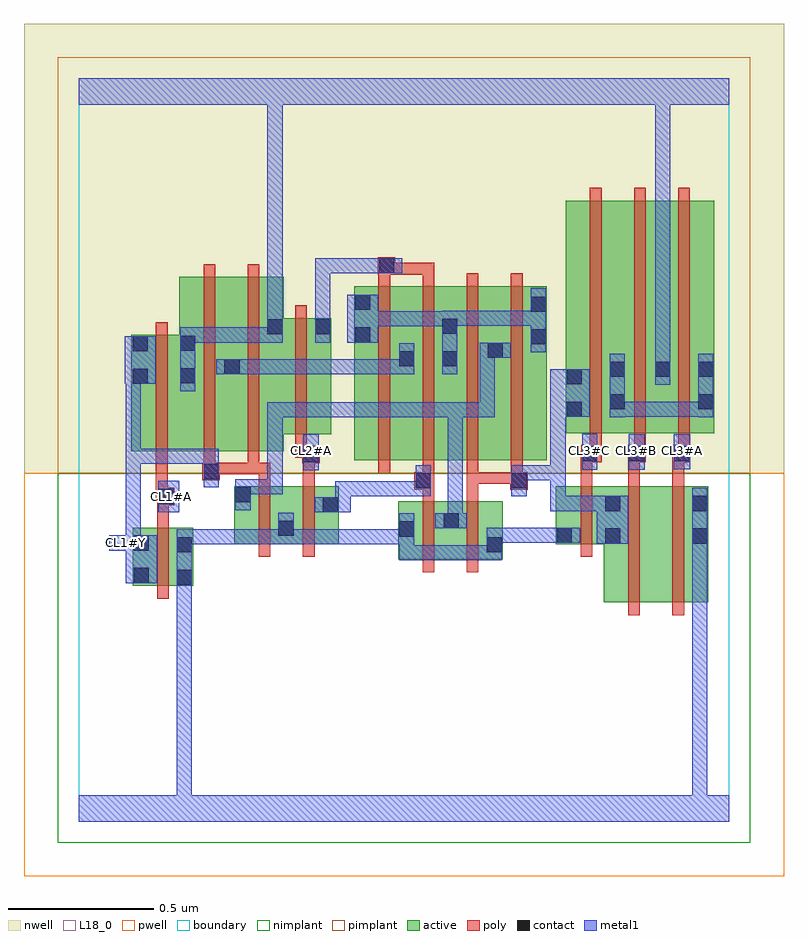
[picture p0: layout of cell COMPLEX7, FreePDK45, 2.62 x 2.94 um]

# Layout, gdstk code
import gdstk
lib = gdstk.Library(unit=1e-6, precision=1e-09)
def R(c, l, rs):  # rectangles x0, y0, x1, y1
    for r in rs: c.add(gdstk.rectangle(r[:2], r[2:], *l))
def A(c, l, x, y, w, h, nx, ny, dx, dy):  # array of equal rectangles
    R(c, l, [(x+i*dx, y+j*dy, x+i*dx+w, y+j*dy+h) for i in range(nx) for j in range(ny)])
active = (1, 0)
pwell = (2, 0)
nwell = (3, 0)
nimplant = (4, 0)
pimplant = (5, 0)
poly = (9, 0)
contact = (10, 0)
metal1 = (11, 0)
L18_0 = (18, 0)
boundary = (235, 0)

complex7 = lib.new_cell('COMPLEX7')
R(complex7, active, [(1.808,0.756,1.868,1.156), (1.808,0.756,1.988,1.156), (1.988,0.756,2.168,1.156), (2.108,0.756,2.168,1.156), (0.186,0.812,0.246,1.012), (0.186,0.812,0.394,1.012), (0.334,0.812,0.394,1.012), (1.1,0.904,1.16,1.104), (1.1,0.904,1.312,1.104), (1.252,0.904,1.312,1.104), (1.252,0.904,1.46,1.104), (1.4,0.904,1.46,1.104), (0.536,0.956,0.596,1.156), (0.536,0.956,0.744,1.156), (0.684,0.956,0.744,1.156), (0.684,0.956,0.896,1.156), (0.836,0.956,0.896,1.156), (1.642,0.956,1.868,1.156), (1.642,0.956,1.702,1.156), (0.948,1.244,1.008,1.844), (0.948,1.244,1.16,1.844), (1.1,1.244,1.16,1.844), (1.1,1.244,1.308,1.844), (1.248,1.244,1.308,1.844), (1.248,1.244,1.464,1.844), (1.404,1.244,1.464,1.844), (1.404,1.244,1.612,1.844), (1.552,1.244,1.612,1.844), (0.182,1.276,0.242,1.676), (0.182,1.276,0.406,1.676), (0.346,1.276,0.406,1.876), (0.346,1.276,0.558,1.876), (0.498,1.276,0.706,1.876), (0.498,1.276,0.558,1.844), (0.646,1.334,0.87,1.734), (0.646,1.334,0.706,1.876), (0.81,1.334,0.87,1.734), (1.676,1.338,1.736,2.044), (1.676,1.338,1.884,2.138), (1.824,1.338,1.884,2.044), (1.824,1.338,2.04,2.138), (1.98,1.338,2.04,2.044), (1.98,1.338,2.188,2.138), (2.128,1.338,2.188,2.044)])
R(complex7, pwell, [(-0.188,-0.188,2.428,1.2)])
R(complex7, nwell, [(-0.188,1.2,2.428,2.748)])
R(complex7, nimplant, [(-0.072,-0.072,2.312,1.2)])
R(complex7, pimplant, [(-0.072,1.2,2.312,2.632)])
A(complex7, poly, 1.184, 1.164, 0.04, 0.076, 3, 1, 0.152, 0)
A(complex7, poly, 1.032, 1.2, 0.04, 0.688, 4, 1, 0.152, 0)
A(complex7, poly, 1.76, 1.258, 0.04, 0.076, 3, 1, 0.152, 0)
A(complex7, poly, 1.76, 1.294, 0.04, 0.888, 3, 1, 0.152, 0)
R(complex7, poly, [(1.892,0.712,1.932,1.2), (2.044,0.712,2.084,1.2), (0.27,0.768,0.31,1.056), (1.184,0.86,1.224,1.148), (1.336,0.86,1.376,1.148), (0.62,0.912,0.66,1.2), (0.772,0.912,0.812,1.2), (1.728,0.912,1.768,1.2), (0.27,1.016,0.31,1.13), (0.27,1.09,0.33,1.15), (1.184,1.108,1.224,1.184), (1.336,1.108,1.376,1.204), (0.266,1.11,0.306,1.272), (0.266,1.11,0.31,1.15), (0.27,1.11,0.31,1.15), (1.156,1.144,1.224,1.204), (1.486,1.144,1.546,1.204), (0.62,1.16,0.66,1.236), (0.772,1.16,0.812,1.274), (1.728,1.16,1.768,1.278), (1.892,1.16,1.932,1.278), (2.044,1.16,2.084,1.278), (1.184,1.164,1.224,1.204), (1.184,1.164,1.224,1.204), (1.336,1.164,1.376,1.204), (1.336,1.164,1.376,1.204), (1.336,1.164,1.376,1.204), (1.336,1.164,1.376,1.204), (1.336,1.164,1.376,1.204), (1.336,1.164,1.526,1.204), (0.426,1.176,0.486,1.236), (0.43,1.196,0.47,1.272), (0.446,1.196,0.486,1.236), (0.446,1.196,0.486,1.236), (0.446,1.196,0.622,1.236), (0.582,1.196,0.622,1.272), (0.582,1.196,0.66,1.236), (0.62,1.196,0.66,1.236), (0.62,1.196,0.66,1.236), (0.266,1.232,0.306,1.72), (0.43,1.232,0.47,1.92), (0.582,1.232,0.622,1.92), (0.77,1.234,0.83,1.294), (1.728,1.238,1.77,1.278), (1.73,1.238,1.77,1.278), (1.73,1.238,1.8,1.298), (1.892,1.238,1.952,1.298), (2.044,1.238,2.104,1.298), (0.746,1.254,0.786,1.33), (0.746,1.254,0.81,1.294), (0.77,1.254,0.81,1.294), (1.912,1.258,1.952,1.298), (1.912,1.258,1.952,1.298), (2.064,1.258,2.104,1.298), (2.064,1.258,2.104,1.298), (0.746,1.29,0.786,1.778), (1.032,1.848,1.072,1.924), (1.184,1.848,1.224,1.924), (1.03,1.884,1.09,1.944), (1.05,1.884,1.224,1.924), (1.184,1.884,1.224,1.924), (1.184,1.884,1.224,1.924), (1.184,1.884,1.224,1.924)])
R(complex7, contact, [(0.338,0.816,0.39,0.868), (0.19,0.822,0.242,0.874), (0.338,0.928,0.39,0.98), (1.404,0.928,1.456,0.98), (0.19,0.934,0.242,0.986), (1.812,0.958,1.864,1.01), (2.112,0.958,2.164,1.01), (1.646,0.96,1.698,1.012), (1.104,0.982,1.156,1.034), (0.688,0.984,0.74,1.036), (1.256,1.01,1.308,1.062), (0.84,1.066,0.892,1.118), (1.812,1.07,1.864,1.122), (2.112,1.07,2.164,1.122), (0.274,1.094,0.326,1.146), (0.54,1.1,0.592,1.152), (1.16,1.148,1.212,1.2), (1.49,1.148,1.542,1.2), (0.43,1.18,0.482,1.232), (0.774,1.238,0.826,1.29), (1.734,1.242,1.786,1.294), (1.896,1.242,1.948,1.294), (2.048,1.242,2.1,1.294), (1.68,1.394,1.732,1.446), (1.828,1.42,1.88,1.472), (2.132,1.42,2.184,1.472), (1.68,1.506,1.732,1.558), (0.186,1.508,0.238,1.56), (0.35,1.51,0.402,1.562), (1.828,1.532,1.88,1.584), (1.984,1.532,2.036,1.584), (2.132,1.532,2.184,1.584), (0.502,1.54,0.554,1.592), (1.104,1.568,1.156,1.62), (1.252,1.568,1.304,1.62), (1.408,1.598,1.46,1.65), (0.186,1.62,0.238,1.672), (0.35,1.622,0.402,1.674), (1.556,1.644,1.608,1.696), (0.952,1.65,1.004,1.702), (0.65,1.678,0.702,1.73), (0.814,1.678,0.866,1.73), (1.252,1.68,1.304,1.732), (1.556,1.756,1.608,1.808), (0.952,1.762,1.004,1.814), (1.034,1.888,1.086,1.94)])
A(complex7, metal1, 0.884, 1.12, 0.052, 0.052, 3, 2, 0.11, 0.272)
R(complex7, metal1, [(0,0,2.24,0.092), (0.338,0.04,0.39,0.092), (0.338,0.04,0.39,0.092), (0.338,0.04,0.39,0.092), (0.338,0.04,0.39,0.092), (0.338,0.04,0.39,0.092), (0.338,0.04,0.39,0.092), (0.338,0.04,0.39,0.092), (0.338,0.04,0.39,0.092), (0.338,0.04,0.39,0.092), (0.338,0.04,0.39,0.092), (0.338,0.04,0.39,0.092), (0.338,0.04,0.39,0.092), (0.338,0.04,0.39,0.092), (0.338,0.04,0.39,0.092), (0.338,0.04,0.39,0.092), (0.338,0.04,0.39,0.092), (0.338,0.04,0.39,0.84), (2.112,0.04,2.164,0.092), (2.112,0.04,2.164,0.092), (2.112,0.04,2.164,0.092), (2.112,0.04,2.164,0.092), (2.112,0.04,2.164,0.092), (2.112,0.04,2.164,0.092), (2.112,0.04,2.164,0.982), (0.338,0.788,0.39,1.008), (0.162,0.822,0.27,0.986), (1.104,0.9,1.156,0.952), (1.104,0.9,1.156,0.952), (1.104,0.9,1.156,0.952), (1.104,0.9,1.322,0.952), (1.104,0.9,1.156,1.006), (1.27,0.9,1.322,0.952), (1.27,0.9,1.322,0.952), (1.27,0.9,1.322,0.952), (1.27,0.9,1.456,0.952), (1.404,0.9,1.456,1.008), (2.112,0.93,2.164,1.15), (2.112,0.93,2.164,0.982), (2.112,0.93,2.164,0.982), (2.112,0.93,2.164,0.982), (2.112,0.93,2.164,0.982), (2.112,0.93,2.164,0.982), (2.112,0.93,2.164,0.982), (0.106,0.934,0.214,0.986), (0.162,0.934,0.214,0.986), (0.162,0.934,0.214,1.284), (1.104,0.954,1.156,1.062), (0.338,0.956,0.39,1.008), (0.338,0.956,0.39,1.008), (0.338,0.956,0.592,1.008), (0.54,0.956,0.592,1.008), (0.54,0.956,0.592,1.008), (0.54,0.956,0.592,1.008), (0.54,0.956,0.74,1.008), (0.688,0.956,0.74,1.008), (0.688,0.956,0.74,1.008), (0.688,0.956,0.74,1.064), (0.688,0.956,0.85,1.008), (0.798,0.956,0.85,1.008), (0.798,0.956,1.046,1.008), (0.994,0.956,1.046,1.008), (0.994,0.956,1.046,1.008), (0.994,0.956,1.046,1.008), (0.994,0.956,1.046,1.008), (0.994,0.956,1.046,1.008), (0.994,0.956,1.156,1.008), (1.404,0.956,1.456,1.012), (1.784,0.958,1.892,1.122), (1.404,0.96,1.456,1.012), (1.404,0.96,1.456,1.012), (1.404,0.96,1.456,1.012), (1.404,0.96,1.67,1.012), (1.618,0.96,1.67,1.012), (1.618,0.96,1.67,1.012), (1.618,0.96,1.726,1.012), (1.228,1.01,1.336,1.062), (1.27,1.01,1.322,1.444), (0.274,1.066,0.346,1.174), (0.812,1.066,0.936,1.118), (0.884,1.066,0.936,1.172), (1.624,1.07,1.676,1.122), (1.624,1.07,1.836,1.122), (1.624,1.07,1.676,1.228), (1.784,1.07,1.836,1.122), (1.784,1.07,1.836,1.122), (1.784,1.07,1.836,1.122), (1.784,1.07,1.836,1.122), (0.54,1.072,0.592,1.18), (0.884,1.12,0.936,1.172), (0.884,1.12,0.936,1.172), (0.884,1.12,1.046,1.172), (0.994,1.12,1.156,1.172), (1.104,1.12,1.212,1.172), (1.16,1.12,1.212,1.228), (1.49,1.12,1.542,1.228), (0.54,1.128,0.592,1.18), (0.54,1.128,0.592,1.18), (0.54,1.128,0.702,1.18), (0.65,1.128,0.702,1.18), (0.65,1.128,0.702,1.18), (0.65,1.128,0.702,1.18), (0.65,1.128,0.702,1.444), (0.43,1.152,0.482,1.284), (1.49,1.176,1.676,1.228), (1.624,1.176,1.676,1.228), (1.624,1.176,1.676,1.228), (1.624,1.176,1.676,1.228), (1.624,1.176,1.676,1.446), (0.774,1.21,0.826,1.334), (1.734,1.212,1.786,1.336), (1.894,1.212,1.948,1.334), (2.048,1.214,2.106,1.334), (0.162,1.232,0.214,1.284), (0.162,1.232,0.214,1.284), (0.162,1.232,0.214,1.284), (0.162,1.232,0.402,1.284), (0.162,1.232,0.214,1.56), (0.35,1.232,0.402,1.284), (0.35,1.232,0.482,1.284), (0.65,1.392,0.702,1.444), (0.65,1.392,0.702,1.444), (0.65,1.392,0.702,1.444), (0.65,1.392,0.936,1.444), (0.884,1.392,0.936,1.444), (0.884,1.392,0.936,1.444), (0.884,1.392,1.046,1.444), (0.994,1.392,1.156,1.444), (1.104,1.392,1.156,1.444), (1.104,1.392,1.156,1.444), (1.104,1.392,1.322,1.444), (1.27,1.392,1.322,1.444), (1.27,1.392,1.322,1.444), (1.27,1.392,1.322,1.444), (1.27,1.392,1.322,1.444), (1.27,1.392,1.322,1.444), (1.27,1.392,1.432,1.444), (1.38,1.392,1.432,1.444), (1.38,1.392,1.432,1.65), (1.828,1.392,1.88,1.612), (2.132,1.392,2.184,1.612), (1.624,1.394,1.76,1.558), (1.828,1.394,1.99,1.446), (1.938,1.394,1.99,1.446), (1.938,1.394,1.99,1.446), (1.938,1.394,1.99,1.446), (1.938,1.394,2.156,1.446), (2.104,1.394,2.184,1.446), (2.104,1.394,2.156,1.446), (0.35,1.482,0.402,1.702), (1.984,1.504,2.036,1.612), (0.158,1.508,0.266,1.672), (0.474,1.54,0.582,1.592), (0.53,1.54,0.582,1.592), (0.53,1.54,0.582,1.592), (0.53,1.54,0.74,1.592), (0.688,1.54,0.74,1.592), (0.688,1.54,0.74,1.592), (0.688,1.54,0.74,1.592), (0.688,1.54,0.936,1.592), (0.884,1.54,0.936,1.592), (0.884,1.54,0.936,1.592), (0.884,1.54,0.936,1.592), (0.884,1.54,1.046,1.592), (0.994,1.54,1.046,1.592), (0.994,1.54,1.156,1.592), (1.104,1.54,1.156,1.648), (1.252,1.54,1.304,1.76), (1.984,1.56,2.036,1.612), (1.984,1.56,2.036,1.612), (1.984,1.56,2.036,1.612), (1.984,1.56,2.036,1.612), (1.984,1.56,2.036,2.52), (1.38,1.598,1.488,1.65), (1.556,1.616,1.608,1.836), (0.35,1.65,0.402,1.702), (0.35,1.65,0.402,1.702), (0.35,1.65,0.512,1.702), (0.46,1.65,0.512,1.702), (0.46,1.65,0.512,1.702), (0.46,1.65,0.512,1.702), (0.46,1.65,0.702,1.702), (0.65,1.65,0.702,1.758), (0.814,1.65,0.866,1.758), (0.924,1.65,1.032,1.814), (0.65,1.706,0.702,1.758), (0.65,1.706,0.702,1.758), (0.65,1.706,0.702,1.758), (0.65,1.706,0.702,1.758), (0.65,1.706,0.702,2.52), (0.814,1.706,0.866,1.94), (0.98,1.706,1.046,1.758), (0.994,1.706,1.046,1.758), (0.994,1.706,1.17,1.758), (1.118,1.706,1.17,1.758), (1.118,1.706,1.17,1.758), (1.118,1.706,1.17,1.758), (1.118,1.706,1.304,1.758), (1.252,1.708,1.322,1.76), (1.27,1.708,1.322,1.76), (1.27,1.708,1.498,1.76), (1.446,1.708,1.498,1.76), (1.446,1.708,1.498,1.76), (1.446,1.708,1.498,1.76), (1.446,1.708,1.608,1.76), (0.814,1.888,0.866,1.94), (0.814,1.888,0.866,1.94), (0.814,1.888,0.866,1.94), (0.814,1.888,0.866,1.94), (0.814,1.888,0.866,1.94), (0.814,1.888,0.936,1.94), (0.884,1.888,0.936,1.94), (0.884,1.888,1.058,1.94), (1.006,1.888,1.114,1.94), (0,2.468,2.24,2.56), (0.65,2.468,0.702,2.52), (0.65,2.468,0.702,2.52), (0.65,2.468,0.702,2.52), (0.65,2.468,0.702,2.52), (0.65,2.468,0.702,2.52), (0.65,2.468,0.702,2.52), (0.65,2.468,0.702,2.52), (0.65,2.468,0.702,2.52), (1.984,2.468,2.036,2.52), (1.984,2.468,2.036,2.52), (1.984,2.468,2.036,2.52), (1.984,2.468,2.036,2.52)])
A(complex7, L18_0, 1.734, 1.254, 0.052, 0.052, 3, 1, 0.16, 0)
R(complex7, L18_0, [(0,0,2.24,0.092), (0.338,0.04,0.39,0.092), (0.338,0.04,0.39,0.092), (0.338,0.04,0.39,0.092), (0.338,0.04,0.39,0.092), (0.338,0.04,0.39,0.092), (0.338,0.04,0.39,0.092), (0.338,0.04,0.39,0.092), (0.338,0.04,0.39,0.092), (0.338,0.04,0.39,0.092), (0.338,0.04,0.39,0.092), (0.338,0.04,0.39,0.092), (0.338,0.04,0.39,0.092), (0.338,0.04,0.39,0.092), (0.338,0.04,0.39,0.092), (0.338,0.04,0.39,0.092), (0.338,0.04,0.39,0.092), (0.338,0.04,0.39,0.84), (2.112,0.04,2.164,0.092), (2.112,0.04,2.164,0.092), (2.112,0.04,2.164,0.092), (2.112,0.04,2.164,0.092), (2.112,0.04,2.164,0.092), (2.112,0.04,2.164,0.092), (2.112,0.04,2.164,0.982), (0.338,0.788,0.39,1.008), (0.162,0.822,0.27,0.986), (1.104,0.9,1.156,0.952), (1.104,0.9,1.156,0.952), (1.104,0.9,1.156,0.952), (1.104,0.9,1.156,1.006), (1.104,0.9,1.322,0.952), (1.27,0.9,1.322,0.952), (1.27,0.9,1.322,0.952), (1.27,0.9,1.322,0.952), (1.27,0.9,1.456,0.952), (1.404,0.9,1.456,1.008), (2.112,0.93,2.164,0.982), (2.112,0.93,2.164,0.982), (2.112,0.93,2.164,0.982), (2.112,0.93,2.164,0.982), (2.112,0.93,2.164,0.982), (2.112,0.93,2.164,0.982), (2.112,0.93,2.164,1.15), (0.106,0.934,0.214,0.986), (0.134,0.934,0.186,0.986), (0.162,0.934,0.214,0.986), (0.162,0.934,0.214,1.284), (1.104,0.954,1.156,1.062), (0.338,0.956,0.39,1.008), (0.338,0.956,0.39,1.008), (0.338,0.956,0.592,1.008), (0.54,0.956,0.592,1.008), (0.54,0.956,0.592,1.008), (0.54,0.956,0.592,1.008), (0.54,0.956,0.74,1.008), (0.688,0.956,0.74,1.008), (0.688,0.956,0.74,1.008), (0.688,0.956,0.85,1.008), (0.688,0.956,0.74,1.064), (0.798,0.956,0.85,1.008), (0.798,0.956,1.046,1.008), (0.994,0.956,1.046,1.008), (0.994,0.956,1.046,1.008), (0.994,0.956,1.046,1.008), (0.994,0.956,1.046,1.008), (0.994,0.956,1.046,1.008), (0.994,0.956,1.156,1.008), (1.404,0.956,1.456,1.012), (1.404,0.96,1.456,1.012), (1.404,0.96,1.456,1.012), (1.404,0.96,1.456,1.012), (1.404,0.96,1.67,1.012), (1.618,0.96,1.726,1.012), (1.618,0.96,1.67,1.012), (1.618,0.96,1.67,1.012), (0.274,1.066,0.346,1.174), (0.294,1.094,0.346,1.146), (0.43,1.152,0.482,1.284), (0.774,1.21,0.826,1.334), (1.734,1.212,1.786,1.336), (1.894,1.212,1.948,1.334), (2.048,1.214,2.106,1.334), (0.162,1.232,0.214,1.284), (0.162,1.232,0.214,1.284), (0.162,1.232,0.214,1.284), (0.162,1.232,0.214,1.56), (0.162,1.232,0.402,1.284), (0.35,1.232,0.402,1.284), (0.35,1.232,0.482,1.284), (0.774,1.254,0.826,1.306), (0.35,1.482,0.402,1.702), (1.984,1.504,2.036,1.612), (0.158,1.508,0.266,1.672), (1.984,1.56,2.036,1.612), (1.984,1.56,2.036,1.612), (1.984,1.56,2.036,1.612), (1.984,1.56,2.036,1.612), (1.984,1.56,2.036,2.52), (0.35,1.65,0.402,1.702), (0.35,1.65,0.402,1.702), (0.35,1.65,0.512,1.702), (0.46,1.65,0.512,1.702), (0.46,1.65,0.512,1.702), (0.46,1.65,0.512,1.702), (0.46,1.65,0.702,1.702), (0.65,1.65,0.702,1.758), (0.65,1.706,0.702,1.758), (0.65,1.706,0.702,1.758), (0.65,1.706,0.702,1.758), (0.65,1.706,0.702,1.758), (0.65,1.706,0.702,2.52), (0,2.468,2.24,2.56), (0.65,2.468,0.702,2.52), (0.65,2.468,0.702,2.52), (0.65,2.468,0.702,2.52), (0.65,2.468,0.702,2.52), (0.65,2.468,0.702,2.52), (0.65,2.468,0.702,2.52), (0.65,2.468,0.702,2.52), (0.65,2.468,0.702,2.52), (1.984,2.468,2.036,2.52), (1.984,2.468,2.036,2.52), (1.984,2.468,2.036,2.52), (1.984,2.468,2.036,2.52)])
R(complex7, boundary, [(0,0,2.24,2.56)])
complex7.add(gdstk.Label('CL1#A', (0.32,1.12), layer=11, texttype=0))
complex7.add(gdstk.Label('CL1#Y', (0.16,0.96), layer=11, texttype=0))
complex7.add(gdstk.Label('CL2#A', (0.8,1.28), layer=11, texttype=0))
complex7.add(gdstk.Label('CL3#A', (2.08,1.28), layer=11, texttype=0))
complex7.add(gdstk.Label('CL3#B', (1.92,1.28), layer=11, texttype=0))
complex7.add(gdstk.Label('CL3#C', (1.76,1.28), layer=11, texttype=0))

lib.write_gds('COMPLEX7.gds')
